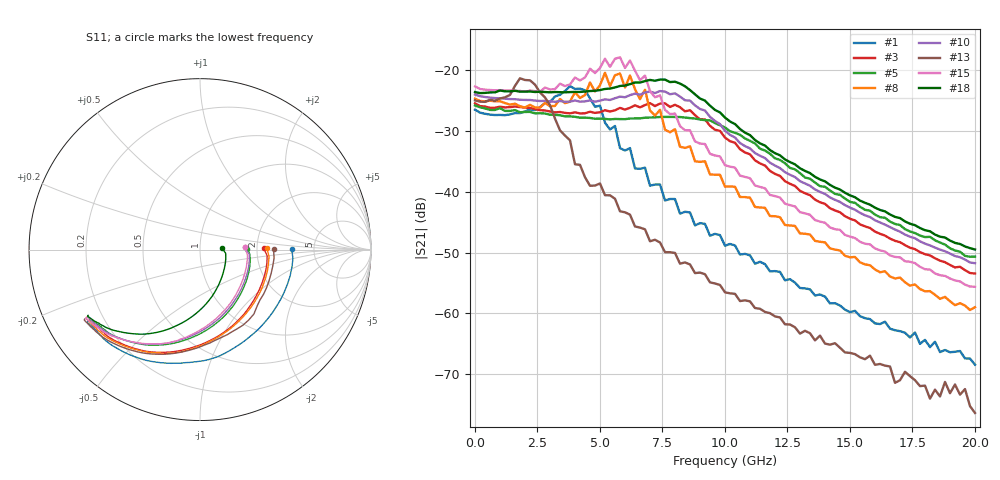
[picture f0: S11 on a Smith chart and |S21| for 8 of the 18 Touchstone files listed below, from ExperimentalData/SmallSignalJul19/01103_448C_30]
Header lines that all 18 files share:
!;Filter: kein Filter
!auto
!SP-Measurements Prober G4
!SP-Measurements Prober G4
!01103_448C
!134
!12
!30
!-20
# Hz S  RI  R 50
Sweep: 10 MHz to 20.01 GHz
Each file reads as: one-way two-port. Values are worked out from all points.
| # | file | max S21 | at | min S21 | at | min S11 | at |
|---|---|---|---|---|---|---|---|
| 1 | 01103_448C_C134R233_I_1mA_30°C.s2p | -22.58 dB | 3.81 GHz | -68.5 dB | 20.01 GHz | -5.4 dB | 10 MHz |
| 2 | 01103_448C_C134R233_I_2mA_30°C.s2p | -24.26 dB | 6.81 GHz | -57.4 dB | 20.01 GHz | -7.1 dB | 10 MHz |
| 3 | 01103_448C_C134R233_I_3mA_30°C.s2p | -25.39 dB | 7.01 GHz | -53.4 dB | 20.01 GHz | -8.6 dB | 10 MHz |
| 4 | 01103_448C_C134R233_I_4mA_30°C.s2p | -25.40 dB | 10 MHz | -51.6 dB | 20.01 GHz | -9.9 dB | 10 MHz |
| 5 | 01103_448C_C134R233_I_5mA_30°C.s2p | -25.75 dB | 10 MHz | -50.7 dB | 19.81 GHz | -11.2 dB | 10 MHz |
| 6 | 01103_448C_C134R233_I_6mA_30°C.s2p | -26.30 dB | 10 MHz | -50.8 dB | 20.01 GHz | -12.6 dB | 10 MHz |
| 7 | 01103_448C_C134R235_I_1mA_30°C.s2p | -20.66 dB | 3.01 GHz | -71.6 dB | 19.81 GHz | -6.2 dB | 10 MHz |
| 8 | 01103_448C_C134R235_I_2mA_30°C.s2p | -20.38 dB | 5.21 GHz | -59.5 dB | 19.81 GHz | -8.2 dB | 10 MHz |
| 9 | 01103_448C_C134R235_I_3mA_30°C.s2p | -21.66 dB | 6.61 GHz | -54.6 dB | 20.01 GHz | -9.9 dB | 10 MHz |
| 10 | 01103_448C_C134R235_I_4mA_30°C.s2p | -23.39 dB | 7.41 GHz | -51.7 dB | 20.01 GHz | -11.7 dB | 10 MHz |
| 11 | 01103_448C_C134R235_I_5mA_30°C.s2p | -24.32 dB | 10 MHz | -50.2 dB | 20.01 GHz | -13.2 dB | 10 MHz |
| 12 | 01103_448C_C134R235_I_6mA_30°C.s2p | -24.86 dB | 10 MHz | -49.8 dB | 20.01 GHz | -14.8 dB | 10 MHz |
| 13 | 01103_448C_C134R237_I_1mA_30°C.s2p | -21.28 dB | 1.81 GHz | -76.4 dB | 20.01 GHz | -7.3 dB | 10 MHz |
| 14 | 01103_448C_C134R237_I_2mA_30°C.s2p | -17.47 dB | 4.61 GHz | -61.6 dB | 20.01 GHz | -9.7 dB | 10 MHz |
| 15 | 01103_448C_C134R237_I_3mA_30°C.s2p | -17.82 dB | 5.81 GHz | -55.6 dB | 20.01 GHz | -11.6 dB | 10 MHz |
| 16 | 01103_448C_C134R237_I_4mA_30°C.s2p | -19.81 dB | 6.21 GHz | -52.3 dB | 20.01 GHz | -13.7 dB | 10 MHz |
| 17 | 01103_448C_C134R237_I_5mA_30°C.s2p | -20.75 dB | 7.01 GHz | -50.2 dB | 20.01 GHz | -15.8 dB | 10 MHz |
| 18 | 01103_448C_C134R237_I_6mA_30°C.s2p | -21.49 dB | 7.41 GHz | -49.5 dB | 20.01 GHz | -17.9 dB | 10 MHz |
